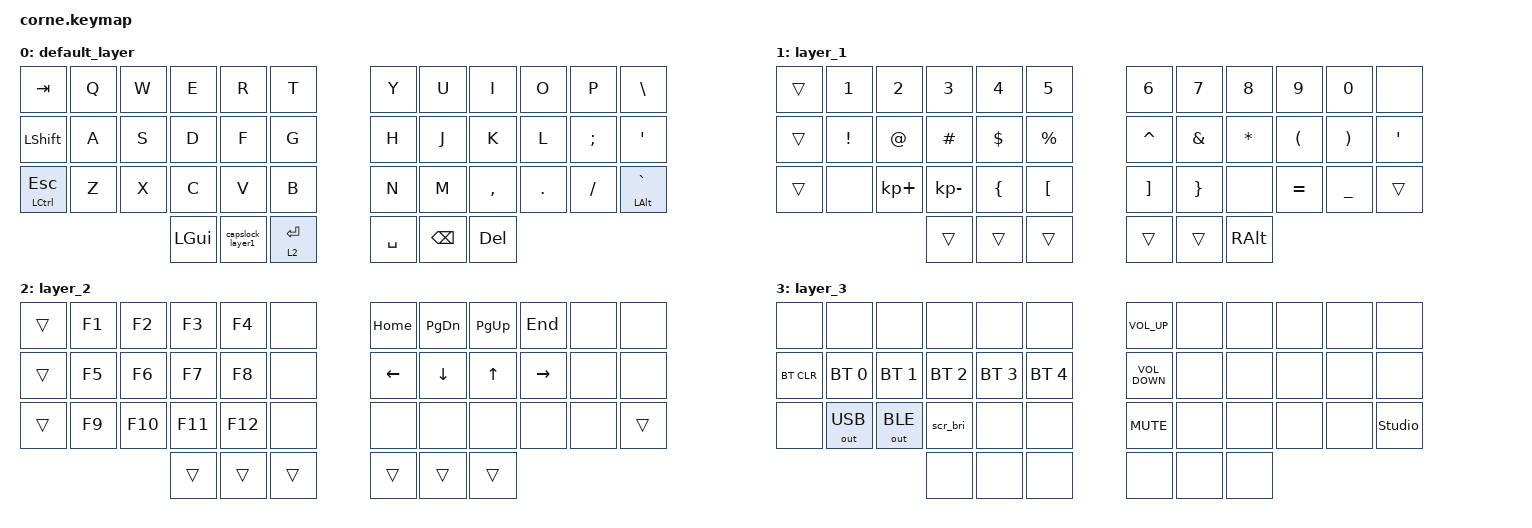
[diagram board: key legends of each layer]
/*
 * Copyright (c) 2020 The ZMK Contributors
 *
 * SPDX-License-Identifier: MIT
 */

#include <behaviors.dtsi>
#include <dt-bindings/zmk/bt.h>
#include <dt-bindings/zmk/keys.h>
#include <dt-bindings/zmk/outputs.h>

// Wake-up key: top outer corner (Tab / \), row pin 4, column pin 21 on both halves.
#define TKL_WAKE_ROW 4
#define TKL_WAKE_COL 21
// Switch-off: Tab + Ctrl/Esc held together.
#define TKL_OFF_KEYS 0 24
#include "tkl_power.dtsi"
#include "tkl_brightness.dtsi"

/ {
    behaviors {
        backspace_delete: backspace_delete {
            compatible = "zmk,behavior-mod-morph";
            label = "BACKSPACE_DELETE";
            bindings = <&kp BACKSPACE>, <&kp DELETE>;

            #binding-cells = <0>;
            mods = <(MOD_LSFT)>;
        };

        capslock_layer1: capslock_layer1 {
            compatible = "zmk,behavior-tap-dance";
            label = "CAPSLOCK_LAYER1";
            #binding-cells = <0>;
            bindings = <&mo 1>, <&kp CAPSLOCK>;
        };
    };

    combos {
        compatible = "zmk,combos";

        mo_layer3 {
            bindings = <&mo 3>;
            key-positions = <37 38>;
        };

        layer-3-right {
            bindings = <&mo 3>;
            key-positions = <39 40>;
        };
    };

    keymap {
        compatible = "zmk,keymap";

        default_layer {
            // ------------------------------------------------------------------------------------------
            // |  TAB     |  Q  |  W  |  E   |  R   |  T    |   |  Y  |  U   |  I  |  O  |  P  |  \       |
            // | SHIFT    |  A  |  S  |  D   |  F   |  G    |   |  H  |  J   |  K  |  L  |  ;  |  '       |
            // | CTRL/ESC |  Z  |  X  |  C   |  V   |  B    |   |  N  |  M   |  ,  |  .  |  /  | ALT/`    |
            //                       | GUI | L1/CAPS | L2/ENT |   | SPC | BSPC | DEL |

            bindings = <
&kp TAB           &kp Q  &kp W  &kp E     &kp R             &kp T          &kp Y      &kp U          &kp I       &kp O    &kp P          &kp BACKSLASH
&kp LEFT_SHIFT    &kp A  &kp S  &kp D     &kp F             &kp G          &kp H      &kp J          &kp K       &kp L    &kp SEMICOLON  &kp SINGLE_QUOTE
&mt LCTRL ESCAPE  &kp Z  &kp X  &kp C     &kp V             &kp B          &kp N      &kp M          &kp COMMA   &kp DOT  &kp FSLH       &mt LEFT_ALT GRAVE
                                &kp LGUI  &capslock_layer1  &lt 2 ENTER    &kp SPACE  &kp BACKSPACE  &kp DELETE
            >;
        };

        layer_1 {
            bindings = <
&trans  &kp NUMBER_1     &kp NUMBER_2  &kp NUMBER_3  &kp NUMBER_4    &kp N5              &kp NUMBER_6       &kp N7           &kp N8         &kp N9                &kp N0                 &none
&trans  &kp EXCLAMATION  &kp AT_SIGN   &kp POUND     &kp DOLLAR      &kp PERCENT         &kp CARET          &kp AMPERSAND    &kp ASTERISK   &kp LEFT_PARENTHESIS  &kp RIGHT_PARENTHESIS  &kp SINGLE_QUOTE
&trans  &none            &kp KP_PLUS   &kp KP_MINUS  &kp LEFT_BRACE  &kp LEFT_BRACKET    &kp RIGHT_BRACKET  &kp RIGHT_BRACE  &none          &kp EQUAL             &kp UNDER              &trans
                                       &trans        &trans          &trans              &trans             &trans           &kp RIGHT_ALT
            >;
        };

        layer_2 {
            bindings = <
&trans  &kp F1  &kp F2   &kp F3   &kp F4   &none     &kp HOME  &kp PAGE_DOWN  &kp PAGE_UP  &kp END    &none  &none
&trans  &kp F5  &kp F6   &kp F7   &kp F8   &none     &kp LEFT  &kp DOWN       &kp UP       &kp RIGHT  &none  &none
&trans  &kp F9  &kp F10  &kp F11  &kp F12  &none     &none     &none          &none        &none      &none  &trans
                         &trans   &trans   &trans    &trans    &trans         &trans
            >;
        };

        layer_3 {
            bindings = <
&none       &none         &none         &none         &none         &none           &kp C_VOLUME_UP    &none  &none  &none  &none  &none
&bt BT_CLR  &bt BT_SEL 0  &bt BT_SEL 1  &bt BT_SEL 2  &bt BT_SEL 3  &bt BT_SEL 4    &kp C_VOLUME_DOWN  &none  &none  &none  &none  &none
&none       &out OUT_USB  &out OUT_BLE  &scr_bri      &none         &none           &kp C_MUTE         &none  &none  &none  &none  &studio_unlock
                                        &none         &none         &none           &none              &none  &none
            >;
        };

        extra1 {
            status = "reserved";
        };

        extra2 {
            status = "reserved";
        };
    };
};
